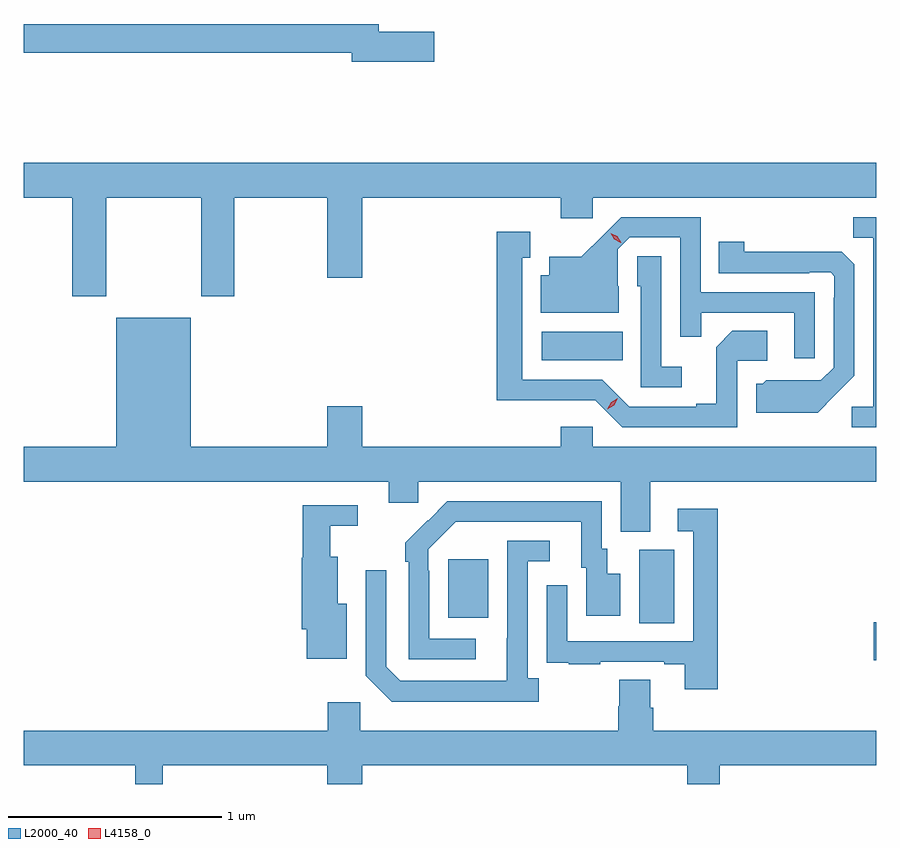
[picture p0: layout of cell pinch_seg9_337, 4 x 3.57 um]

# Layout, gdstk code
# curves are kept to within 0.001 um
import gdstk
lib = gdstk.Library(unit=1e-6, precision=1e-09)
def R(c, l, rs):  # rectangles x0, y0, x1, y1
    for r in rs: c.add(gdstk.rectangle(r[:2], r[2:], *l))
def P(c, l, *ps):  # polygons
    for p in ps: c.add(gdstk.Polygon(p, *l))
L2000_40 = (2000, 40)
L4158_0 = (4158, 0)

pinch_seg9_337 = lib.new_cell('pinch_seg9_337')
R(pinch_seg9_337, L2000_40, [(635.106,1172.938,635.116,1173.116), (634.004,1173.112,634.168,1173.456), (633.107,1173.137,633.295,1173.412), (633.546,1174.346,633.926,1174.48)])
P(pinch_seg9_337, L2000_40, [(633.043,1175.888),(632.782,1175.888),(632.782,1175.924),(631.116,1175.924),(631.116,1175.788),(632.654,1175.788),(632.654,1175.746),(633.043,1175.746)],
  [(631.503,1175.108),(631.948,1175.108),(631.948,1174.647),(632.103,1174.647),(632.103,1175.108),(632.54,1175.108),(632.54,1174.734),(632.704,1174.734),(632.704,1175.108),(633.635,1175.108),(633.635,1175.013),(633.786,1175.013),(633.786,1175.108),(635.116,1175.108),(635.116,1175.272),(631.116,1175.272),(631.116,1175.108),(631.343,1175.108),(631.343,1174.647),(631.503,1174.647)],
  [(635.116,1175.016),(635.008,1175.016),(635.008,1174.921),(635.103,1174.921),(635.103,1174.128),(635.001,1174.128),(635.001,1174.032),(635.116,1174.032)],
  [(634.827,1174.665),(634.293,1174.665),(634.293,1175.016),(633.92,1175.016),(633.733,1174.831),(633.581,1174.831),(633.581,1174.744),(633.542,1174.744),(633.542,1174.568),(633.907,1174.568),(633.907,1174.692),(633.903,1174.692),(633.903,1174.866),(633.96,1174.923),(634.197,1174.923),(634.197,1174.456),(634.295,1174.456),(634.295,1174.569),(634.731,1174.569),(634.731,1174.356),(634.827,1174.356)],
  [(634.464,1174.344),(634.606,1174.344),(634.606,1174.484),(634.441,1174.484),(634.365,1174.408),(634.365,1174.141),(634.271,1174.141),(634.271,1174.128),(633.957,1174.128),(633.831,1174.254),(633.454,1174.254),(633.454,1174.827),(633.493,1174.827),(633.493,1174.948),(633.336,1174.948),(633.336,1174.157),(633.798,1174.158),(633.924,1174.032),(634.464,1174.032)],
  [(634.921,1174.181),(635.013,1174.274),(635.013,1174.796),(634.954,1174.855),(634.497,1174.856),(634.497,1174.903),(634.378,1174.903),(634.378,1174.755),(634.802,1174.755),(634.802,1174.758),(634.902,1174.758),(634.92,1174.74),(634.92,1174.64),(634.917,1174.64),(634.917,1174.311),(634.857,1174.251),(634.6,1174.252),(634.584,1174.236),(634.553,1174.236),(634.553,1174.1),(634.841,1174.1)],
  [(634.204,1174.315),(634.107,1174.315),(634.107,1174.835),(633.996,1174.835),(633.996,1174.692),(634.011,1174.692),(634.011,1174.218),(634.204,1174.218)],
  [(634.057,1173.776),(635.116,1173.776),(635.116,1173.94),(633.786,1173.94),(633.786,1174.033),(633.635,1174.033),(633.635,1173.94),(632.704,1173.94),(632.704,1174.129),(632.54,1174.129),(632.54,1173.94),(631.9,1173.94),(631.9,1174.546),(631.55,1174.546),(631.55,1173.94),(631.116,1173.94),(631.116,1173.776),(632.828,1173.776),(632.828,1173.678),(632.967,1173.678),(632.967,1173.776),(633.917,1173.776),(633.917,1173.541),(634.057,1173.541)],
  [(633.238,1173.039),(633.018,1173.039),(633.018,1173.359),(633.015,1173.359),(633.015,1173.459),(633.144,1173.588),(633.731,1173.588),(633.731,1173.372),(633.755,1173.372),(633.755,1173.147),(633.916,1173.147),(633.916,1173.343),(633.853,1173.343),(633.853,1173.462),(633.828,1173.462),(633.828,1173.684),(633.104,1173.684),(632.907,1173.489),(632.907,1173.401),(632.922,1173.401),(632.922,1172.943),(633.238,1172.943)],
  [(632.632,1173.202),(632.59,1173.202),(632.59,1173.424),(632.554,1173.424),(632.554,1173.569),(632.683,1173.569),(632.683,1173.666),(632.425,1173.666),(632.425,1173.42),(632.42,1173.42),(632.42,1173.084),(632.444,1173.084),(632.444,1172.945),(632.632,1172.945)],
  [(634.373,1173.649),(634.185,1173.649),(634.185,1173.543),(634.257,1173.543),(634.257,1173.027),(633.666,1173.027),(633.666,1173.289),(633.57,1173.289),(633.57,1173.034),(633.571,1173.034),(633.571,1172.925),(633.673,1172.925),(633.673,1172.919),(633.821,1172.919),(633.821,1172.931),(634.121,1172.931),(634.121,1172.919),(634.217,1172.919),(634.217,1172.802),(634.373,1172.802)],
  [(633.532,1172.854),(633.48,1172.854),(633.48,1173.402),(633.583,1173.402),(633.583,1173.498),(633.384,1173.498),(633.383,1172.841),(632.883,1172.841),(632.817,1172.907),(632.817,1173.361),(632.721,1173.361),(632.721,1172.865),(632.842,1172.744),(633.532,1172.744)],
  [(631.768,1172.444),(632.54,1172.444),(632.54,1172.357),(632.704,1172.357),(632.704,1172.444),(634.229,1172.444),(634.229,1172.357),(634.381,1172.357),(634.381,1172.444),(635.116,1172.444),(635.116,1172.608),(634.07,1172.608),(634.07,1172.714),(634.057,1172.714),(634.057,1172.846),(633.91,1172.846),(633.91,1172.721),(633.905,1172.721),(633.905,1172.608),(632.694,1172.608),(632.694,1172.74),(632.543,1172.74),(632.543,1172.608),(631.116,1172.608),(631.116,1172.444),(631.639,1172.444),(631.639,1172.357),(631.768,1172.357)])
P(pinch_seg9_337, L4158_0, [(633.918,1174.898),(633.888,1174.913),(633.87,1174.942),(633.87,1174.943),(633.87,1174.943),(633.901,1174.928),(633.919,1174.898),(633.919,1174.898)],
  [(633.855,1174.116),(633.855,1174.116),(633.872,1174.149),(633.904,1174.168),(633.904,1174.168),(633.904,1174.167),(633.887,1174.135),(633.855,1174.116)])

lib.write_gds('pinch_seg9_337.gds')
